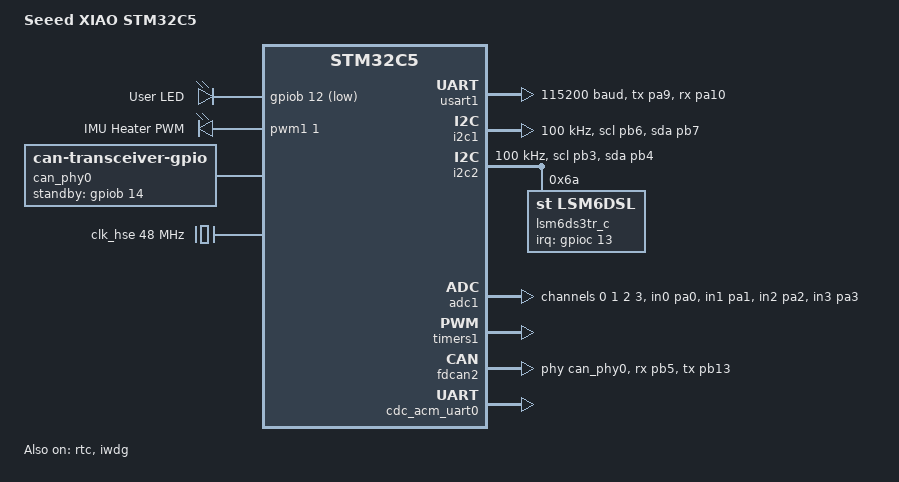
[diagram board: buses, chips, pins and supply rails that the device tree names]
/*
 * Copyright (c) 2026 Seeed Technology Co., Ltd.
 * SPDX-License-Identifier: Apache-2.0
 *
 * XIAO STM32C5 board definition.
 * MCU: STM32C5A3CG (UFQFPN48, Cortex-M33, 144MHz, 256KB SRAM, 1MB Flash)
 * Pin map extracted from schematic 04 XIAO Header&STM32C5.kicad_sch and
 * verified against STM32C5A3 datasheet DS15137-Rev1.
 *
 * UF2 bootloader constraint: application starts at 0x08008000 (32KB offset).
 * Flash partitions, chosen code-partition, and ROM_START_OFFSET MUST NOT
 * be modified — they are aligned with the TinyUF2 bootloader.
 */

/dts-v1/;
#include <st/c5/stm32c5a3Xg.dtsi>
#include <st/c5/stm32c5(9-a)3z(e-g)tx-pinctrl.dtsi>
#include <zephyr/dt-bindings/input/input-event-codes.h>
#include <zephyr/dt-bindings/pwm/pwm.h>
#include "seeed_xiao_connector.dtsi"

/ {
	model = "Seeed XIAO STM32C5";
	compatible = "seeed,xiao-stm32c5";

	chosen {
		zephyr,console = &usart1;
		zephyr,shell-uart = &usart1;
		zephyr,sram = &sram1;
		zephyr,flash = &flash0;
		zephyr,code-partition = &slot0_partition;
		zephyr,canbus = &fdcan2;
	};

	aliases {
		led0 = &user_led;
		watchdog0 = &iwdg;
		can0 = &fdcan2;
		imu0 = &lsm6ds3tr_c;
		imu-heater = &imu_heater_pwm;
	};

	leds: leds {
		compatible = "gpio-leds";

		user_led: led_0 {
			gpios = <&gpiob 12 GPIO_ACTIVE_LOW>;
			label = "User LED";
		};
	};

	pwmleds {
		compatible = "pwm-leds";

		imu_heater_pwm: imu_heater_pwm {
			pwms = <&pwm1 1 PWM_MSEC(1) PWM_POLARITY_NORMAL>;
			label = "IMU Heater PWM";
		};
	};

	/*
	 * CAN transceiver: the standby pin (CAN_STB = PB14, XIAO D15) is
	 * driven LOW (inactive) during normal operation and HIGH (active)
	 * when the CAN bus is idle/disabled to reduce power consumption.
	 */
	can_phy0: can-phy0 {
		compatible = "can-transceiver-gpio";
		standby-gpios = <&gpiob 14 GPIO_ACTIVE_HIGH>;
		max-bitrate = <8000000>;
		#phy-cells = <0>;
	};
};

&clk_hse {
	clock-frequency = <DT_FREQ_M(48)>;
	status = "okay";
};

&clk_hsidiv3 {
	status = "okay";
};

&clk_hsik {
	clock-frequency = <DT_FREQ_M(48)>;
	xsik-div = "3";
	status = "okay";
};

&clk_hsis {
	status = "okay";
};

&clk_psis {
	clock-frequency = <DT_FREQ_M(144)>;
	status = "okay";
};

&clk_lsi {
	status = "okay";
};

&clk_lse {
	status = "okay";
};

&flash0 {
	partitions {
		compatible = "fixed-partitions";
		#address-cells = <1>;
		#size-cells = <1>;

		/* TinyUF2 Bootloader: 32KB — DO NOT MODIFY */
		boot_partition: partition@0 {
			label = "uf2-bootloader";
			reg = <0x00000000 DT_SIZE_K(32)>;
		};

		/* Application slot: 488KB (aligned with UF2 layout) — DO NOT MODIFY */
		slot0_partition: partition@8000 {
			label = "image-0";
			reg = <0x00008000 DT_SIZE_K(488)>;
		};

		/* OTA slot: 480KB */
		slot1_partition: partition@82000 {
			label = "image-1";
			reg = <0x00082000 DT_SIZE_K(480)>;
		};

		/* Storage: 24KB */
		storage_partition: partition@fa000 {
			label = "storage";
			reg = <0x000fa000 DT_SIZE_K(24)>;
		};
	};
};

&usart1 {
	pinctrl-0 = <&usart1_tx_pa9 &usart1_rx_pa10>;
	pinctrl-names = "default";
	current-speed = <115200>;
	status = "okay";
};

&i2c1 {
	pinctrl-0 = <&i2c1_scl_pb6 &i2c1_sda_pb7>;
	pinctrl-names = "default";
	clock-frequency = <I2C_BITRATE_STANDARD>;
	status = "okay";
};

&i2c2 {
	pinctrl-0 = <&i2c2_scl_pb3 &i2c2_sda_pb4>;
	pinctrl-names = "default";
	clock-frequency = <I2C_BITRATE_STANDARD>;
	status = "okay";

	lsm6ds3tr_c: lsm6ds3tr-c@6a {
		compatible = "st,lsm6dsl";
		reg = <0x6a>;
		irq-gpios = <&gpioc 13 GPIO_ACTIVE_HIGH>;
		status = "okay";
	};
};

&adc1 {
	pinctrl-0 = <&adc1_in0_pa0 &adc1_in1_pa1 &adc1_in2_pa2 &adc1_in3_pa3>;
	pinctrl-names = "default";
	#address-cells = <1>;
	#size-cells = <0>;
	status = "okay";

	channel@0 {
		reg = <0>;
		zephyr,gain = "ADC_GAIN_1";
		zephyr,reference = "ADC_REF_INTERNAL";
		zephyr,acquisition-time = <ADC_ACQ_TIME_DEFAULT>;
		zephyr,resolution = <12>;
	};

	channel@1 {
		reg = <1>;
		zephyr,gain = "ADC_GAIN_1";
		zephyr,reference = "ADC_REF_INTERNAL";
		zephyr,acquisition-time = <ADC_ACQ_TIME_DEFAULT>;
		zephyr,resolution = <12>;
	};

	channel@2 {
		reg = <2>;
		zephyr,gain = "ADC_GAIN_1";
		zephyr,reference = "ADC_REF_INTERNAL";
		zephyr,acquisition-time = <ADC_ACQ_TIME_DEFAULT>;
		zephyr,resolution = <12>;
	};

	channel@3 {
		reg = <3>;
		zephyr,gain = "ADC_GAIN_1";
		zephyr,reference = "ADC_REF_INTERNAL";
		zephyr,acquisition-time = <ADC_ACQ_TIME_DEFAULT>;
		zephyr,resolution = <12>;
	};
};

&timers1 {
	st,prescaler = <143>;
	status = "okay";

	pwm1: pwm {
		pinctrl-0 = <&tim1_ch1_pa8>;
		pinctrl-names = "default";
		status = "okay";
	};
};

&fdcan2 {
	clocks = <&rcc STM32_CLOCK(APB1_2, 9)>,
		 <&rcc STM32_SRC_PSIS FDCAN_SEL(1)>;
	pinctrl-0 = <&fdcan2_rx_pb5 &fdcan2_tx_pb13>;
	pinctrl-names = "default";
	phys = <&can_phy0>;
	status = "okay";
};

&rtc {
	clocks = <&rcc STM32_CLOCK(APB3, 21)>,
		 <&rcc STM32_SRC_LSE RTC_SEL(1)>;
	status = "okay";
};

&rcc {
	clocks = <&clk_hsis>;
	clock-frequency = <DT_FREQ_M(144)>;
	ahb-prescaler = <1>;
	apb1-prescaler = <2>;
	apb2-prescaler = <2>;
	apb3-prescaler = <2>;
	st,psi-frequency = <144>;
	st,psi-source = "HSE";
};

&iwdg {
	status = "okay";
};

/* XIAO connector CAN alias (must be after fdcan2 definition above) */
xiao_can: &fdcan2 {};

/* USB device controller alias (standard Zephyr UDC) */
zephyr_udc0: &usb {};

/* CDC ACM UART: host-facing virtual serial port. */
&zephyr_udc0 {
	cdc_acm_uart0 {
		compatible = "zephyr,cdc-acm-uart";
		label = "Zephyr USB CDC-ACM";
	};
};
